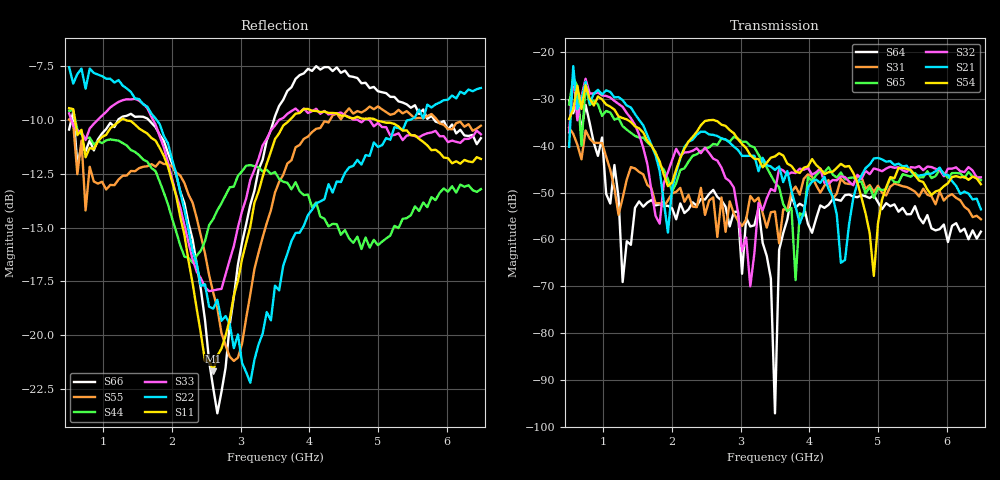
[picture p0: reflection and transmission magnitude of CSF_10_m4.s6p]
!Keysight Technologies,M9804A,MY58100912,A.14.10.03
!Date: Thursday, April 27, 2023 10:28:33
!Correction: S11(C  6-Port  )
!S12(C  6-Port  )
!S13(C  6-Port  )
!S14(C  6-Port  )
!S15(C  6-Port  )
!S16(C  6-Port  )
!S21(C  6-Port  )
!S22(C  6-Port  )
!S23(C  6-Port  )
!S24(C  6-Port  )
!S25(C  6-Port  )
!S26(C  6-Port  )
!S31(C  6-Port  )
!S32(C  6-Port  )
!S33(C  6-Port  )
!S34(C  6-Port  )
!S35(C  6-Port  )
!S36(C  6-Port  )
!S41(C  6-Port  )
!S42(C  6-Port  )
!S43(C  6-Port  )
!S44(C  6-Port  )
!S45(C  6-Port  )
!S46(C  6-Port  )
!S51(C  6-Port  )
!S52(C  6-Port  )
!S53(C  6-Port  )
!S54(C  6-Port  )
!S55(C  6-Port  )
!S56(C  6-Port  )
!S61(C  6-Port  )
!S62(C  6-Port  )
!S63(C  6-Port  )
!S64(C  6-Port  )
!S65(C  6-Port  )
!S66(C  6-Port  )
!S6P File: Measurement: :
# Hz S  RI  R 50
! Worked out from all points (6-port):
!   101 points, 500 MHz to 6.5 GHz, reference 50 ohm
!   strongest paths, dB at 500 MHz, 2 GHz, 3.5 GHz, 5 GHz, 6.5 GHz:
!     S54: -34.3, -47.9, -42.3, -56.7, -48.2
!     S21: -40.3, -49.1, -45.2, -42.6, -53.6
!     S32: -37.1, -43.1, -49.7, -45.1, -46.8
!     S65: -31.2, -49.7, -47.9, -49.1, -47.3
!     S31: -36.2, -50.2, -54.1, -48.5, -55.7
!     S64: -30.3, -53.4, -97.1, -52.1, -58.4
!   lowest |S11| = -21.7 dB at 2.6 GHz (marker M1), VSWR 1.18, Z = 42.6 + j2.05 ohm
!   |S11| at or under -10 dB: 584.8 MHz to 1.257 GHz (672.5 MHz wide, 73 % of centre); 1.32 GHz to 3.716 GHz (2.396 GHz wide, 95.2 % of centre); 4.968 GHz to end of sweep
